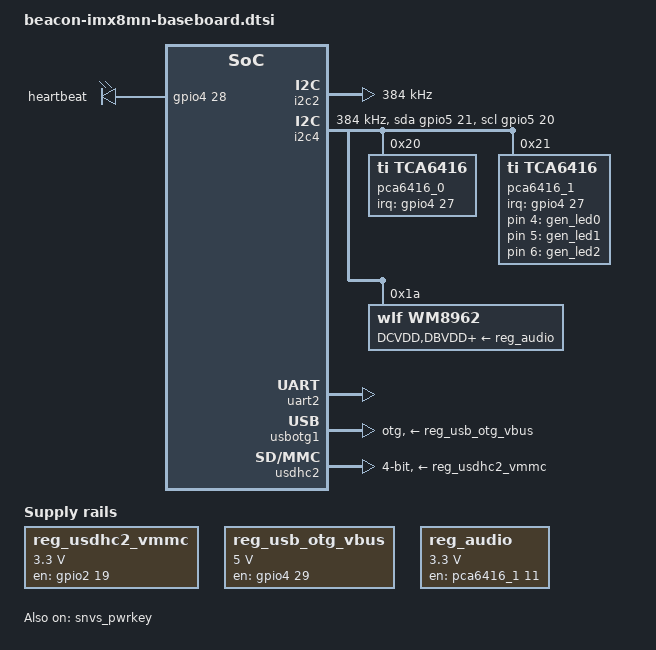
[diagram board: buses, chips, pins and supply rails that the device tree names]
// SPDX-License-Identifier: (GPL-2.0 OR MIT)
/*
 * Copyright 2020 Compass Electronic Solutions
 */

/ {
	leds {
		compatible = "gpio-leds";

		led0 {
			label = "gen_led0";
			gpios = <&pca6416_1 4 GPIO_ACTIVE_HIGH>;
			default-state = "none";
		};

		led1 {
			label = "gen_led1";
			gpios = <&pca6416_1 5 GPIO_ACTIVE_HIGH>;
			default-state = "none";
		};

		led2 {
			label = "gen_led2";
			gpios = <&pca6416_1 6 GPIO_ACTIVE_HIGH>;
			default-state = "none";
		};

		led3 {
			pinctrl-names = "default";
			pinctrl-0 = <&pinctrl_led3>;
			label = "heartbeat";
			gpios = <&gpio4 28 GPIO_ACTIVE_HIGH>;
			linux,default-trigger = "heartbeat";
		};
	};

	reg_usdhc2_vmmc: regulator-usdhc2 {
		compatible = "regulator-fixed";
		regulator-name = "VSD_3V3";
		regulator-min-microvolt = <3300000>;
		regulator-max-microvolt = <3300000>;
		gpio = <&gpio2 19 GPIO_ACTIVE_HIGH>;
		enable-active-high;
		startup-delay-us = <100>;
		off-on-delay-us = <12000>;
	};

	reg_usb_otg_vbus: usb_otg_vbus {
		compatible = "regulator-fixed";
		pinctrl-0 = <&pinctrl_reg_usb_otg>;
		regulator-name = "usb_otg_vbus";
		regulator-min-microvolt = <5000000>;
		regulator-max-microvolt = <5000000>;
		gpio = <&gpio4 29 GPIO_ACTIVE_HIGH>;
		enable-active-high;
	};

	reg_audio: regulator-audio {
		compatible = "regulator-fixed";
		regulator-name = "3v3_aud";
		regulator-min-microvolt = <3300000>;
		regulator-max-microvolt = <3300000>;
		gpio = <&pca6416_1 11 GPIO_ACTIVE_HIGH>;
		enable-active-high;
	};

	sound-wm8962 {
		compatible = "fsl,imx-audio-wm8962";
		model = "wm8962-audio";
		cpu-dai = <&sai3>;
		audio-codec = <&wm8962>;
		audio-routing =
			"Headphone Jack", "HPOUTL",
			"Headphone Jack", "HPOUTR",
			"Ext Spk", "SPKOUTL",
			"Ext Spk", "SPKOUTR",
			"AMIC", "MICBIAS",
			"IN3R", "AMIC";
	};
};

&iomuxc {
	pinctrl-names = "default";

	imx8mn {
		pinctrl_csi_pwn: csi_pwn_grp {
			fsl,pins = <
				MX8MN_IOMUXC_GPIO1_IO07__GPIO1_IO7		0x19
			>;
		};

		pinctrl_csi_rst: csi_rst_grp {
			fsl,pins = <
				MX8MN_IOMUXC_GPIO1_IO06__GPIO1_IO6		0x19
				MX8MN_IOMUXC_GPIO1_IO14__CCMSRCGPCMIX_CLKO1	0x59
			>;
		};

		pinctrl_i2c2: i2c2grp {
			fsl,pins = <
				MX8MN_IOMUXC_I2C2_SCL__I2C2_SCL		0x400001c3
				MX8MN_IOMUXC_I2C2_SDA__I2C2_SDA		0x400001c3
			>;
		};

		pinctrl_i2c4: i2c4grp {
			fsl,pins = <
				MX8MN_IOMUXC_I2C4_SCL__I2C4_SCL		0x400001c3
				MX8MN_IOMUXC_I2C4_SDA__I2C4_SDA		0x400001c3
			>;
		};

		pinctrl_espi2: espi2grp {
			fsl,pins = <
				MX8MN_IOMUXC_ECSPI2_SCLK__ECSPI2_SCLK		0x82
				MX8MN_IOMUXC_ECSPI2_MOSI__ECSPI2_MOSI		0x82
				MX8MN_IOMUXC_ECSPI2_MISO__ECSPI2_MISO		0x82
				MX8MN_IOMUXC_ECSPI1_SS0__GPIO5_IO9		0x41
			>;
		};

		pinctrl_led3: led3grp {
			fsl,pins = <
				MX8MN_IOMUXC_SAI3_RXFS__GPIO4_IO28		0x41
			>;
		};


		pinctrl_pdm: pdmgrp {
			fsl,pins = <
				MX8MN_IOMUXC_SAI5_MCLK__SAI5_MCLK		0xd6
				MX8MN_IOMUXC_SAI5_RXC__PDM_CLK		0xd6
				MX8MN_IOMUXC_SAI5_RXFS__SAI5_RX_SYNC		0xd6
				MX8MN_IOMUXC_SAI5_RXD0__PDM_BIT_STREAM0	0xd6
				MX8MN_IOMUXC_SAI5_RXD1__PDM_BIT_STREAM1	0xd6
				MX8MN_IOMUXC_SAI5_RXD2__PDM_BIT_STREAM2	0xd6
				MX8MN_IOMUXC_SAI5_RXD3__PDM_BIT_STREAM3	0xd6
			>;
		};

		pinctrl_pcie0: pcie0grp {
			fsl,pins = <
				MX8MN_IOMUXC_GPIO1_IO05__GPIO1_IO5	0x41
				MX8MN_IOMUXC_SAI2_RXFS__GPIO4_IO21	0x41
			>;
		};

		pinctrl_reg_usb_otg: reg_usb_otg {
			fsl,pins = <
				MX8MN_IOMUXC_SAI3_RXC__GPIO4_IO29     0x19
			>;
		};

		pinctrl_usbotg: usbotggrp {
			fsl,pins = <
				MX8MN_IOMUXC_GPIO1_IO10__USB1_OTG_ID     0x41
			>;
		};

		pinctrl_i2c4_gpio: i2c4grp-gpio {
			fsl,pins = <
				MX8MN_IOMUXC_I2C4_SCL__GPIO5_IO20        	0x1c3
				MX8MN_IOMUXC_I2C4_SDA__GPIO5_IO21        	0x1c3
			>;
		};

		pinctrl_pcal6414: pcal6414-gpio {
			fsl,pins = <
				MX8MN_IOMUXC_SAI2_MCLK__GPIO4_IO27        	0x19
			>;
		};

		pinctrl_sai3: sai3grp {
			fsl,pins = <
				MX8MN_IOMUXC_SAI3_TXFS__SAI3_TX_SYNC     0xd6
				MX8MN_IOMUXC_SAI3_TXC__SAI3_TX_BCLK      0xd6
				MX8MN_IOMUXC_SAI3_MCLK__SAI3_MCLK        0xd6
				MX8MN_IOMUXC_SAI3_TXD__SAI3_TX_DATA0     0xd6
				MX8MN_IOMUXC_SAI3_RXD__SAI3_RX_DATA0	0xd6
			>;
		};

		pinctrl_uart2: uart2grp {
			fsl,pins = <
				MX8MN_IOMUXC_UART2_RXD__UART2_DCE_RX	0x140
				MX8MN_IOMUXC_UART2_TXD__UART2_DCE_TX	0x140
			>;
		};

		pinctrl_uart3: uart3grp {
			fsl,pins = <
				MX8MN_IOMUXC_ECSPI1_SCLK__UART3_DCE_RX		0x140
				MX8MN_IOMUXC_ECSPI1_MOSI__UART3_DCE_TX		0x140
			>;
		};

		pinctrl_usdhc2_gpio: usdhc2grpgpio {
			fsl,pins = <
				MX8MN_IOMUXC_SD2_CD_B__USDHC2_CD_B	0x41
				MX8MN_IOMUXC_SD2_RESET_B__GPIO2_IO19	0x41
			>;
		};

		pinctrl_usdhc2: usdhc2grp {
			fsl,pins = <
				MX8MN_IOMUXC_SD2_CLK__USDHC2_CLK		0x190
				MX8MN_IOMUXC_SD2_CMD__USDHC2_CMD		0x1d0
				MX8MN_IOMUXC_SD2_DATA0__USDHC2_DATA0	0x1d0
				MX8MN_IOMUXC_SD2_DATA1__USDHC2_DATA1	0x1d0
				MX8MN_IOMUXC_SD2_DATA2__USDHC2_DATA2	0x1d0
				MX8MN_IOMUXC_SD2_DATA3__USDHC2_DATA3	0x1d0
				MX8MN_IOMUXC_GPIO1_IO04__USDHC2_VSELECT	0x1d0
			>;
		};

		pinctrl_usdhc2_100mhz: usdhc2grp100mhz {
			fsl,pins = <
				MX8MN_IOMUXC_SD2_CLK__USDHC2_CLK		0x194
				MX8MN_IOMUXC_SD2_CMD__USDHC2_CMD		0x1d4
				MX8MN_IOMUXC_SD2_DATA0__USDHC2_DATA0	0x1d4
				MX8MN_IOMUXC_SD2_DATA1__USDHC2_DATA1	0x1d4
				MX8MN_IOMUXC_SD2_DATA2__USDHC2_DATA2	0x1d4
				MX8MN_IOMUXC_SD2_DATA3__USDHC2_DATA3	0x1d4
				MX8MN_IOMUXC_GPIO1_IO04__USDHC2_VSELECT	0x1d0
			>;
		};

		pinctrl_usdhc2_200mhz: usdhc2grp200mhz {
			fsl,pins = <
				MX8MN_IOMUXC_SD2_CLK__USDHC2_CLK		0x196
				MX8MN_IOMUXC_SD2_CMD__USDHC2_CMD		0x1d6
				MX8MN_IOMUXC_SD2_DATA0__USDHC2_DATA0	0x1d6
				MX8MN_IOMUXC_SD2_DATA1__USDHC2_DATA1	0x1d6
				MX8MN_IOMUXC_SD2_DATA2__USDHC2_DATA2	0x1d6
				MX8MN_IOMUXC_SD2_DATA3__USDHC2_DATA3	0x1d6
				MX8MN_IOMUXC_GPIO1_IO04__USDHC2_VSELECT	0x1d0
			>;
		};
	};
};

&i2c2 {
	clock-frequency = <384000>;
	pinctrl-names = "default";
	pinctrl-0 = <&pinctrl_i2c2>;
	status = "okay";
};

&i2c4 {

	clock-frequency = <384000>;
	pinctrl-names = "default", "gpio";
	pinctrl-0 = <&pinctrl_i2c4>;
	pinctrl-1 = <&pinctrl_i2c4_gpio>;
	scl-gpios = <&gpio5 20 GPIO_ACTIVE_HIGH>;
	sda-gpios = <&gpio5 21 GPIO_ACTIVE_HIGH>;
	status = "okay";

	pca6416_0: gpio@20 {
		compatible = "ti,tca6416";
		reg = <0x20>;
		pinctrl-names = "default";
		pinctrl-0 = <&pinctrl_pcal6414>;
		gpio-controller;
		#gpio-cells = <2>;
		interrupt-parent = <&gpio4>;
		interrupts = <27 IRQ_TYPE_LEVEL_LOW>;
	};

	pca6416_1: gpio@21 {
		compatible = "ti,tca6416";
		reg = <0x21>;
		gpio-controller;
		#gpio-cells = <2>;
		interrupt-parent = <&gpio4>;
		interrupts = <27 IRQ_TYPE_LEVEL_LOW>;
	};

	wm8962: audio-codec@1a {
		compatible = "wlf,wm8962";
		reg = <0x1a>;
		clocks = <&clk IMX8MN_CLK_SAI3_ROOT>;
		clock-names = "xclk";
		DCVDD-supply = <&reg_audio>;
		DBVDD-supply = <&reg_audio>;
		AVDD-supply = <&reg_audio>;
		CPVDD-supply = <&reg_audio>;
		MICVDD-supply = <&reg_audio>;
		PLLVDD-supply = <&reg_audio>;
		SPKVDD1-supply = <&reg_audio>;
		SPKVDD2-supply = <&reg_audio>;
		gpio-cfg = <
			0x0000 /* 0:Default */
			0x0000 /* 1:Default */
			0x0000 /* 2:FN_DMICCLK */
			0x0000 /* 3:Default */
			0x0000 /* 4:FN_DMICCDAT */
			0x0000 /* 5:Default */
		>;
	};
};

&snvs_pwrkey {
	status = "okay";
};

&uart2 { /* console */
	pinctrl-names = "default";
	pinctrl-0 = <&pinctrl_uart2>;
	status = "okay";
};

&usbotg1 {
	vbus-supply = <&reg_usb_otg_vbus>;
	pinctrl-names = "default";
	pinctrl-0 = <&pinctrl_usbotg>;
	disable-over-current;
	dr_mode="otg";
	status = "okay";
};

/*rfee  from uboot*/
&usdhc2 {
	pinctrl-names = "default", "state_100mhz", "state_200mhz";
	pinctrl-0 = <&pinctrl_usdhc2>, <&pinctrl_usdhc2_gpio>;
	pinctrl-1 = <&pinctrl_usdhc2_100mhz>, <&pinctrl_usdhc2_gpio>;
	pinctrl-2 = <&pinctrl_usdhc2_200mhz>, <&pinctrl_usdhc2_gpio>;
	bus-width = <4>;
	vmmc-supply = <&reg_usdhc2_vmmc>;
	no-1-8-v;
	status = "okay";
};
